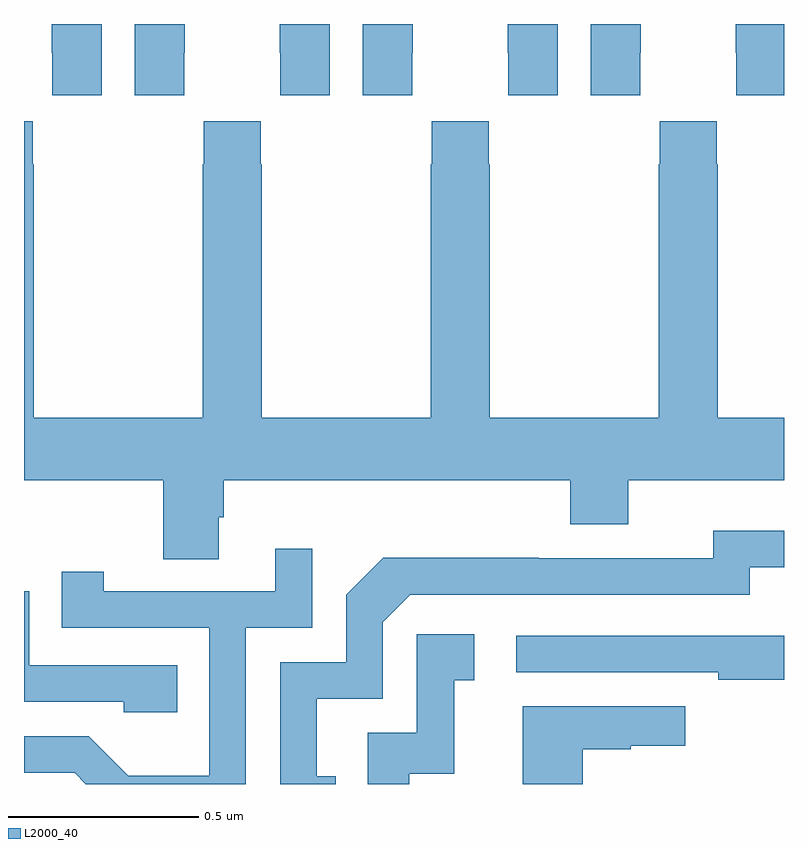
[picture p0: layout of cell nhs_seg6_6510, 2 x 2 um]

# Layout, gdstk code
import gdstk
lib = gdstk.Library(unit=1e-6, precision=1e-09)
def P(c, l, *ps):  # polygons
    for p in ps: c.add(gdstk.Polygon(p, *l))
L2000_40 = (2000, 40)

nhs_seg6_6510 = lib.new_cell('nhs_seg6_6510')
P(nhs_seg6_6510, L2000_40, [(196.422,984.424),(196.423,984.424),(196.423,984.5),(196.292,984.5),(196.292,984.312),(196.422,984.312)],
  [(196.804,984.5),(196.673,984.5),(196.673,984.424),(196.674,984.424),(196.674,984.312),(196.804,984.312)],
  [(197.022,984.424),(197.023,984.424),(197.023,984.5),(196.892,984.5),(196.892,984.312),(197.022,984.312)],
  [(197.404,984.5),(197.273,984.5),(197.273,984.424),(197.274,984.424),(197.274,984.312),(197.404,984.312)],
  [(197.622,984.424),(197.623,984.424),(197.623,984.5),(197.492,984.5),(197.492,984.312),(197.622,984.312)],
  [(198,984.5),(197.873,984.5),(197.873,984.424),(197.874,984.424),(197.874,984.312),(198,984.312)],
  [(196.204,984.5),(196.073,984.5),(196.073,984.424),(196.074,984.424),(196.074,984.312),(196.204,984.312)],
  [(196.513,983.202),(196.526,983.202),(196.526,983.3),(197.438,983.3),(197.438,983.183),(197.59,983.183),(197.59,983.3),(198,983.3),(198,983.464),(197.826,983.464),(197.826,984.131),(197.823,984.131),(197.823,984.244),(197.673,984.244),(197.673,984.131),(197.671,984.131),(197.671,983.464),(197.226,983.464),(197.226,984.131),(197.223,984.131),(197.223,984.244),(197.073,984.244),(197.073,984.131),(197.071,984.131),(197.071,983.464),(196.626,983.464),(196.626,984.131),(196.623,984.131),(196.623,984.244),(196.473,984.244),(196.473,984.131),(196.471,984.131),(196.471,983.464),(196.026,983.464),(196.026,984.131),(196.023,984.131),(196.023,984.244),(196,984.244),(196,983.3),(196.366,983.3),(196.366,983.092),(196.513,983.092)],
  [(196.82,982.521),(196.771,982.521),(196.771,982.725),(196.944,982.725),(196.944,982.926),(197.016,982.998),(197.91,982.998),(197.91,983.07),(198,983.07),(198,983.167),(197.814,983.167),(197.814,983.094),(197.354,983.094),(197.354,983.096),(196.946,983.096),(196.848,982.998),(196.848,982.821),(196.674,982.821),(196.674,982.5),(196.82,982.5)],
  [(196.584,982.911),(196.758,982.911),(196.758,983.119),(196.661,983.119),(196.661,983.007),(196.21,983.007),(196.21,983.059),(196.099,983.059),(196.099,982.911),(196.488,982.911),(196.488,982.522),(196.274,982.522),(196.17,982.626),(196,982.626),(196,982.53),(196.133,982.53),(196.163,982.5),(196.584,982.5)],
  [(196.403,982.812),(196.014,982.812),(196.014,983.007),(196,983.007),(196,982.716),(196.263,982.716),(196.263,982.689),(196.403,982.689)],
  [(197.014,982.527),(197.132,982.527),(197.132,982.773),(197.185,982.773),(197.185,982.894),(197.034,982.894),(197.034,982.635),(196.905,982.635),(196.905,982.5),(197.014,982.5)],
  [(198,982.89),(197.295,982.89),(197.295,982.794),(197.827,982.794),(197.827,982.774),(198,982.774)],
  [(197.47,982.591),(197.597,982.591),(197.597,982.601),(197.74,982.601),(197.74,982.705),(197.312,982.705),(197.312,982.5),(197.47,982.5)])

lib.write_gds('nhs_seg6_6510.gds')
